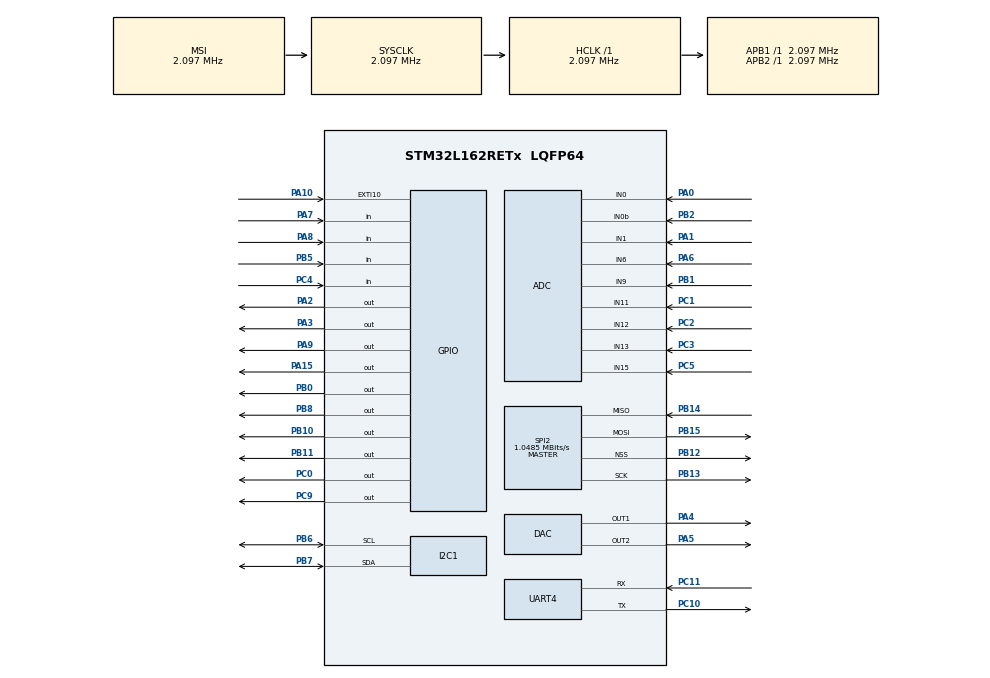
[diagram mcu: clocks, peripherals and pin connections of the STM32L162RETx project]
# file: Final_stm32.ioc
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ADC.Channel-0\#ChannelRegularConversion=ADC_CHANNEL_11
ADC.NbrOfConversionFlag=1
ADC.Rank-0\#ChannelRegularConversion=1
ADC.SamplingTime-0\#ChannelRegularConversion=ADC_SAMPLETIME_4CYCLES
Mcu.Family=STM32L1
Mcu.Name=STM32L162RETx
Mcu.Package=LQFP64
NVIC.EXTI15_10_IRQn=true\:0\:0\:false\:false\:true\:true\:true
NVIC.PriorityGroup=NVIC_PRIORITYGROUP_4
PA0-WKUP1.Mode=IN0
PA0-WKUP1.Signal=ADC_IN0
PA1.Mode=IN1
PA1.Signal=ADC_IN1
PA10.Signal=GPXTI10
PA13.Mode=Serial_Wire
PA13.Signal=SYS_JTMS-SWDIO
PA14.Mode=Serial_Wire
PA14.Signal=SYS_JTCK-SWCLK
PA15.Signal=GPIO_Output
PA2.Signal=GPIO_Output
PA3.Signal=GPIO_Output
PA4.Signal=COMP_DAC1_group
PA5.Signal=COMP_DAC2_group
PA6.Mode=IN6
PA6.Signal=ADC_IN6
PA7.Signal=GPIO_Input
PA8.Signal=GPIO_Input
PA9.Signal=GPIO_Output
PB0.Signal=GPIO_Output
PB1.Mode=IN9
PB1.Signal=ADC_IN9
PB10.Signal=GPIO_Output
PB11.Signal=GPIO_Output
PB12.Mode=NSS_Signal_Hard_Output
PB12.Signal=SPI2_NSS
PB13.Mode=Full_Duplex_Master
PB13.Signal=SPI2_SCK
PB14.Mode=Full_Duplex_Master
PB14.Signal=SPI2_MISO
PB15.Mode=Full_Duplex_Master
PB15.Signal=SPI2_MOSI
PB2.Mode=IN0b
PB2.Signal=ADC_IN0b
PB5.Signal=GPIO_Input
PB6.Mode=I2C
PB6.Signal=I2C1_SCL
PB7.Mode=I2C
PB7.Signal=I2C1_SDA
PB8.Signal=GPIO_Output
PC0.Signal=GPIO_Output
PC1.Mode=IN11
PC1.Signal=ADC_IN11
PC10.Mode=Asynchronous
PC10.Signal=UART4_TX
PC11.Mode=Asynchronous
PC11.Signal=UART4_RX
PC14-OSC32_IN.Mode=LSE-External-Oscillator
PC14-OSC32_IN.Signal=RCC_OSC32_IN
PC15-OSC32_OUT.Mode=LSE-External-Oscillator
PC15-OSC32_OUT.Signal=RCC_OSC32_OUT
PC2.Mode=IN12
PC2.Signal=ADC_IN12
PC3.Mode=IN13
PC3.Signal=ADC_IN13
PC4.Signal=GPIO_Input
PC5.Mode=IN15
PC5.Signal=ADC_IN15
PC9.Signal=GPIO_Output
PH0-OSC_IN.Mode=HSE-External-Oscillator
PH0-OSC_IN.Signal=RCC_OSC_IN
PH1-OSC_OUT.Mode=HSE-External-Oscillator
PH1-OSC_OUT.Signal=RCC_OSC_OUT
ProjectManager.HeapSize=0x200
ProjectManager.StackSize=0x400
ProjectManager.TargetToolchain=STM32CubeIDE
RCC.AHBFreq_Value=2097000
RCC.APB1Freq_Value=2097000
RCC.APB2Freq_Value=2097000
RCC.HSE_VALUE=24000000
RCC.HSI_VALUE=16000000
RCC.MSI_VALUE=2097000
RCC.SYSCLKFreq_VALUE=2097000
RCC.VCOOutputFreq_Value=48000000
SH.COMP_DAC1_group.0=DAC_OUT1,DAC_OUT1
SH.COMP_DAC2_group.0=DAC_OUT2,DAC_OUT2
SPI2.CalculateBaudRate=1.0485 MBits/s
SPI2.Direction=SPI_DIRECTION_2LINES
SPI2.Mode=SPI_MODE_MASTER
SPI2.VirtualNSS=VM_NSSHARD
SPI2.VirtualType=VM_MASTER
UART4.VirtualMode=Asynchronous
VP_IWDG_VS_IWDG.Mode=IWDG_Activate
VP_RTC_VS_RTC_Activate.Mode=RTC_Enabled
VP_RTC_VS_RTC_Calendar.Mode=RTC_Calendar
board=custom

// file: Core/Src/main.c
/* USER CODE BEGIN Header */
/**
  ******************************************************************************
  * @file           : main.c
  * @brief          : Main program body
  ******************************************************************************
  * @attention
  *
  * <h2><center>&copy; Copyright (c) 2021 STMicroelectronics.
  * All rights reserved.</center></h2>
  *
  * This software component is licensed by ST under BSD 3-Clause license,
  * the "License"; You may not use this file except in compliance with the
  * License. You may obtain a copy of the License at:
  *                        opensource.org/licenses/BSD-3-Clause
  *
  ******************************************************************************
  */
/* USER CODE END Header */
#include "main.h"

ADC_HandleTypeDef hadc;

DAC_HandleTypeDef hdac;

I2C_HandleTypeDef hi2c1;

IWDG_HandleTypeDef hiwdg;

RTC_HandleTypeDef hrtc;

SPI_HandleTypeDef hspi2;

UART_HandleTypeDef huart4;

void SystemClock_Config(void);
static void MX_GPIO_Init(void);
static void MX_ADC_Init(void);
static void MX_DAC_Init(void);
static void MX_I2C1_Init(void);
static void MX_RTC_Init(void);
static void MX_SPI2_Init(void);
static void MX_UART4_Init(void);
static void MX_IWDG_Init(void);

int main(void)
{
  /* USER CODE BEGIN 1 */
	initsensors(&hi2c1);
	currentState = INIT;
  /* USER CODE END 1 */

  /* MCU Configuration--------------------------------------------------------*/

  /* Reset of all peripherals, Initializes the Flash interface and the Systick. */
  HAL_Init();

  /* USER CODE BEGIN Init */
  pthread_t thread_comms;

  bool payload_state; //bool which indicates when do we need to go to PAYLOAD state
  bool comms_state; //bool which indicates if we are in region of contact with GS, then go to COMMS state

  uint8_t percentatge;
  uint8_t telecommand_aux;

  /* USER CODE END Init */

  /* Configure the system clock */
  SystemClock_Config();

  /* Initialize all configured peripherals */
  MX_GPIO_Init();
  MX_ADC_Init();
  MX_DAC_Init();
  MX_I2C1_Init();
  MX_RTC_Init();
  MX_SPI2_Init();
  MX_UART4_Init();
  MX_IWDG_Init();
  /* USER CODE BEGIN 2 */
  //stateMachine();
  /* USER CODE END 2 */

  /* Infinite loop */
  /* USER CODE BEGIN WHILE */
  while (1)
  {
	  system_state(&hi2c1);
	  switch (currentState) {

		case INIT:
			init(&hi2c1);
			Write_Flash(PREVIOUS_STATE_ADDR, INIT, 1);
			break;

		case IDLE:
			/* if a telecomand to use the payload/comms is received, go to PAYLOADS/COMMS state */
			if(!system_state(&hi2c1)) currentState = CONTINGENCY;
			else {
				check_position();
				Read_Flash(PAYLOAD_STATE_ADDR, &payload_state, 1);
				Read_Flash(COMMS_STATE_ADDR, &comms_state, 1);
				if(payload_state) currentState = PAYLOAD; /*payload becomes true if a telecommand to acquire data is received*/
				else if(comms_state)	currentState = COMMS;	/*comms becomes true when we have acquired the data and we need to send it*/
				sensorReadings(&hi2c1); /*Updates the values of temperatures, voltages and currents*/
				/*ADCS tasks needed??*/
				//Add Rx mode here
				Write_Flash(PREVIOUS_STATE_ADDR, IDLE, 1);
			}
			break;

		case COMMS:

			//If it is the first time we enter in COMMS when getting contact with the Ground station:
			configuration();
			//pthread_create(&thread_comms, NULL, stateMachine(), NULL);	//INITIALIZE COMMS THREAD
			stateMachine();	//this line must be deleted (initialize in thread)
			//AFTER THAT => NOT ENTER IN COMMS TILL CONTACT TIME WITH GS ENDS

			//WHEN CONTACT TIME ENDS
			//kill comms thread

			/* check if the picture or spectrogram has to be sent and send it if needed */
			if(!system_state(&hi2c1)) currentState = CONTINGENCY;
			else if(comms_state); //telecommand(); 	        /* function that receives orders from "COMMS" */
			currentState = IDLE;
			Write_Flash(PREVIOUS_STATE_ADDR, COMMS, 1);
			break;
		case PAYLOAD:
			/* The idea of this state is to modify the coils' current in each iteration
			 * (when payload_state is true), and once the PQ reaches the final position
			 * in which the photo will be taken, try to maintain the position until it
			 * is the correct moment to take the photo
			 * The code is commented because most variables were not defined and gave
			 * errors, do not think it's a wrong code! */
//			if(PHOTO_TIME - /*¿¿*/RCC/*??*/ < threshold) {
//				rotatePhoto();
//				if(PHOTO_TIME - /*¿¿*/RCC/*??*/ < small_threshold) {
//					takePhoto();
//					resetCommsParams();
//					Write_Flash(PAYLOAD_STATE_ADDR, FALSE, 1);
//				}
//			}

			/*If that checks if the clock's time has passed the Payload time*/
//			if(/*¿¿*/RCC/*??*/ > PHOTO_TIME) {
//				Write_Flash(PAYLOAD_STATE_ADDR, FALSE, 1);
//			}

			currentState = IDLE;
			if(!system_state(&hi2c1)) currentState = CONTINGENCY;
			Write_Flash(PREVIOUS_STATE_ADDR, PAYLOAD, 1);
			break;

		  case CONTINGENCY://we enter low power run mode here

			  setContingency(true); //for comms to know they are in contingency => only receive

			  if (previousState == INIT || previousState == IDLE || previousState == PAYLOAD || previousState == CONTINGENCY || (previousState == COMMS && telecommand_aux == 0)){ //if we come form any of these state check the batteries and decide which the next state will be

				  checkbatteries(&hi2c1); //check the batteries
		  	  	  Read_Flash(BATT_LEVEL_ADDR, &percentatge, 1); //read the battery level and store it on the percentatge variable
		  	 	  Read_Flash(EXIT_LOW_ADDR, &telecommand_aux, 1);//read the exit low flag and store it on the telecommand_aux

				  if (percentatge <= NOMINAL && percentatge >= LOW){ //if batteries are between those values stay on contingency
					  enter_LPRun_Mode();
					  currentState = COMMS;
				  }
				  else if (percentatge <=LOW && percentatge >= CRITICAL){//if batteries are between those values move to susnafe
					  currentState = SUNSAFE;
				  }
				  else { //if batteries are below the critical level move to the survival state
					  currentState = SURVIVAL;
				  }
			  }
			  else if (previousState = COMMS && telecommand_aux == 1){ //we get to the CONTINGENCY state coming from COMMS when the awake telecommand is received

				  exit_LPRun_Mode();

				  checkbatteries(&hi2c1);
		  	      Read_Flash(BATT_LEVEL_ADDR, &percentatge, 1);
		  	      Read_Flash(EXIT_LOW_ADDR, &telecommand_aux, 1);

				  if (percentatge >= NOMINAL + THRESHOLD){ //look whether the batteries are OK or not to mover or not to IDLE

					  currentState = IDLE;

				  }
				  else if (percentatge <=NOMINAL && percentatge >= LOW){ //batteries have not increased but neither decreased, so we stay on contingency

					  currentState = CONTINGENCY;

				  }
				  else { //batteries have decreased, so we move to the sunsafe state

					  currentState = SUNSAFE;
				  }

			  }
			  else if (previousState == SUNSAFE){ //check the batteries when coming from the sunsafe state

				  if (percentatge >= NOMINAL + THRESHOLD){
					  currentState = IDLE;

				  }
				  else if (percentatge <=NOMINAL && percentatge >= LOW){//if batteries are kept between those values stay on contingency

					  currentState = CONTINGENCY;

				  }
			  }
			  else if (previousState == SURVIVAL){ //check the batteries when coming from the survival state

				  if (percentatge >= CRITICAL && percentatge <= LOW){ // if batteries are between low and critical move to sunsafe
					  currentState = SUNSAFE;
				  }
				  else if (percentatge >= LOW && percentatge <= NOMINAL){ // if batteries are between nominal and low stay on contingency
					  currentState = CONTINGENCY;
				  }
				  else if(percentatge >= NOMINAL + THRESHOLD) { //threshold is not defined yet, but if batteries are higher than nominal plus that threshold move to IDLE
					  currentState = IDLE;
				  }
			  }

			  previousState = CONTINGENCY;
		          Write_Flash(PREVIOUS_STATE_ADDR, CONTINGENCY, 1);

		  break;

		  case SUNSAFE: //we enter Sleep mode

		  	  checkbatteries(&hi2c1);
		  	  Read_Flash(BATT_LEVEL_ADDR, &percentatge, 1);

		  	  //END COMMS THREAD HERE

			  while (percentatge <= LOW && percentatge >= CRITICAL){ //if we are kept between those values it means we have not increased that much and neither decreased

				  HAL_IWDG_Init(&hiwdg); //IWDG initialization
				  previousState = SUNSAFE;
				  HAL_PWR_EnterSLEEPMode(PWR_LOWPOWERREGULATOR_ON, PWR_SLEEPENTRY_WFI);//predetermined function to enter Sleep mode
				  HAL_Delay(33000); //delay higher than the IWDG refreshing time so that we start again
			  }
			  if (percentatge >= LOW) currentState = CONTINGENCY;

			  else 	currentState = SURVIVAL;

			  previousState = SUNSAFE;
			  Write_Flash(PREVIOUS_STATE_ADDR, SUNSAFE, 1);

		  break;

		  case SURVIVAL: //we enter Low Power Sleep mode

			  checkbatteries(&hi2c1);
			  Read_Flash(BATT_LEVEL_ADDR, &percentatge, 1);

		  	  //END COMMS THREAD HERE

			  while (percentatge <= CRITICAL ){

				  HAL_IWDG_Init(&hiwdg);
				  previousState = SURVIVAL;
				  enter_LPSleep_Mode();
				  HAL_Delay(33000); //delay higher than the IWDG refreshing time so that we start again
			  }
			  //we will enter this next two lines just when we do not enter the while (because of the IDWG)
			  currentState = CONTINGENCY;
			  previousState = SURVIVAL;
			  Write_Flash(PREVIOUS_STATE_ADDR, SURVIVAL, 1);

		  break;
	  default:
		  /*REBOOT THE SYSTEM*/
	  break;

	  }
    /* USER CODE END WHILE */

  }
}

void SystemClock_Config(void)
{
  RCC_OscInitTypeDef RCC_OscInitStruct = {0};
  RCC_ClkInitTypeDef RCC_ClkInitStruct = {0};
  RCC_PeriphCLKInitTypeDef PeriphClkInit = {0};

  /** Configure the main internal regulator output voltage
  */
  __HAL_PWR_VOLTAGESCALING_CONFIG(PWR_REGULATOR_VOLTAGE_SCALE1);
  /** Initializes the RCC Oscillators according to the specified parameters
  * in the RCC_OscInitTypeDef structure.
  */
  RCC_OscInitStruct.OscillatorType = RCC_OSCILLATORTYPE_HSI|RCC_OSCILLATORTYPE_LSI
                              |RCC_OSCILLATORTYPE_MSI;
  RCC_OscInitStruct.HSIState = RCC_HSI_ON;
  RCC_OscInitStruct.HSICalibrationValue = RCC_HSICALIBRATION_DEFAULT;
  RCC_OscInitStruct.LSIState = RCC_LSI_ON;
  RCC_OscInitStruct.MSIState = RCC_MSI_ON;
  RCC_OscInitStruct.MSICalibrationValue = 0;
  RCC_OscInitStruct.MSIClockRange = RCC_MSIRANGE_5;
  RCC_OscInitStruct.PLL.PLLState = RCC_PLL_NONE;
  if (HAL_RCC_OscConfig(&RCC_OscInitStruct) != HAL_OK)
  {
    Error_Handler();
  }
  /** Initializes the CPU, AHB and APB buses clocks
  */
  RCC_ClkInitStruct.ClockType = RCC_CLOCKTYPE_HCLK|RCC_CLOCKTYPE_SYSCLK
                              |RCC_CLOCKTYPE_PCLK1|RCC_CLOCKTYPE_PCLK2;
  RCC_ClkInitStruct.SYSCLKSource = RCC_SYSCLKSOURCE_MSI;
  RCC_ClkInitStruct.AHBCLKDivider = RCC_SYSCLK_DIV1;
  RCC_ClkInitStruct.APB1CLKDivider = RCC_HCLK_DIV1;
  RCC_ClkInitStruct.APB2CLKDivider = RCC_HCLK_DIV1;

  if (HAL_RCC_ClockConfig(&RCC_ClkInitStruct, FLASH_LATENCY_0) != HAL_OK)
  {
    Error_Handler();
  }
  PeriphClkInit.PeriphClockSelection = RCC_PERIPHCLK_RTC;
  PeriphClkInit.RTCClockSelection = RCC_RTCCLKSOURCE_LSI;
  if (HAL_RCCEx_PeriphCLKConfig(&PeriphClkInit) != HAL_OK)
  {
    Error_Handler();
  }
}

static void MX_ADC_Init(void)
{

  ADC_ChannelConfTypeDef sConfig = {0};

  /** Configure the global features of the ADC (Clock, Resolution, Data Alignment and number of conversion)
  */
  hadc.Instance = ADC1;
  hadc.Init.ClockPrescaler = ADC_CLOCK_ASYNC_DIV1;
  hadc.Init.Resolution = ADC_RESOLUTION_12B;
  hadc.Init.DataAlign = ADC_DATAALIGN_RIGHT;
  hadc.Init.ScanConvMode = ADC_SCAN_DISABLE;
  hadc.Init.EOCSelection = ADC_EOC_SEQ_CONV;
  hadc.Init.LowPowerAutoWait = ADC_AUTOWAIT_DISABLE;
  hadc.Init.LowPowerAutoPowerOff = ADC_AUTOPOWEROFF_DISABLE;
  hadc.Init.ChannelsBank = ADC_CHANNELS_BANK_A;
  hadc.Init.ContinuousConvMode = DISABLE;
  hadc.Init.NbrOfConversion = 1;
  hadc.Init.DiscontinuousConvMode = DISABLE;
  hadc.Init.ExternalTrigConv = ADC_SOFTWARE_START;
  hadc.Init.ExternalTrigConvEdge = ADC_EXTERNALTRIGCONVEDGE_NONE;
  hadc.Init.DMAContinuousRequests = DISABLE;
  if (HAL_ADC_Init(&hadc) != HAL_OK)
  {
    Error_Handler();
  }
  /** Configure for the selected ADC regular channel its corresponding rank in the sequencer and its sample time.
  */
  sConfig.Channel = ADC_CHANNEL_11;
  sConfig.Rank = ADC_REGULAR_RANK_1;
  sConfig.SamplingTime = ADC_SAMPLETIME_4CYCLES;
  if (HAL_ADC_ConfigChannel(&hadc, &sConfig) != HAL_OK)
  {
    Error_Handler();
  }

}

static void MX_DAC_Init(void)
{

  DAC_ChannelConfTypeDef sConfig = {0};

  /** DAC Initialization
  */
  hdac.Instance = DAC;
  if (HAL_DAC_Init(&hdac) != HAL_OK)
  {
    Error_Handler();
  }
  /** DAC channel OUT1 config
  */
  sConfig.DAC_Trigger = DAC_TRIGGER_NONE;
  sConfig.DAC_OutputBuffer = DAC_OUTPUTBUFFER_ENABLE;
  if (HAL_DAC_ConfigChannel(&hdac, &sConfig, DAC_CHANNEL_1) != HAL_OK)
  {
    Error_Handler();
  }
  /** DAC channel OUT2 config
  */
  if (HAL_DAC_ConfigChannel(&hdac, &sConfig, DAC_CHANNEL_2) != HAL_OK)
  {
    Error_Handler();
  }

}

static void MX_I2C1_Init(void)
{

  hi2c1.Instance = I2C1;
  hi2c1.Init.ClockSpeed = 100000;
  hi2c1.Init.DutyCycle = I2C_DUTYCYCLE_2;
  hi2c1.Init.OwnAddress1 = 0;
  hi2c1.Init.AddressingMode = I2C_ADDRESSINGMODE_7BIT;
  hi2c1.Init.DualAddressMode = I2C_DUALADDRESS_DISABLE;
  hi2c1.Init.OwnAddress2 = 0;
  hi2c1.Init.GeneralCallMode = I2C_GENERALCALL_DISABLE;
  hi2c1.Init.NoStretchMode = I2C_NOSTRETCH_DISABLE;
  if (HAL_I2C_Init(&hi2c1) != HAL_OK)
  {
    Error_Handler();
  }

}

static void MX_IWDG_Init(void)
{

  hiwdg.Instance = IWDG;
  hiwdg.Init.Prescaler = IWDG_PRESCALER_4;
  hiwdg.Init.Reload = 4095;
  if (HAL_IWDG_Init(&hiwdg) != HAL_OK)
  {
    Error_Handler();
  }

}

static void MX_RTC_Init(void)
{

  RTC_TimeTypeDef sTime = {0};
  RTC_DateTypeDef sDate = {0};

  /** Initialize RTC Only
  */
  hrtc.Instance = RTC;
  hrtc.Init.HourFormat = RTC_HOURFORMAT_24;
  hrtc.Init.AsynchPrediv = 127;
  hrtc.Init.SynchPrediv = 255;
  hrtc.Init.OutPut = RTC_OUTPUT_DISABLE;
  hrtc.Init.OutPutPolarity = RTC_OUTPUT_POLARITY_HIGH;
  hrtc.Init.OutPutType = RTC_OUTPUT_TYPE_OPENDRAIN;
  if (HAL_RTC_Init(&hrtc) != HAL_OK)
  {
    Error_Handler();
  }

  /** Initialize RTC and set the Time and Date
  */
  sTime.Hours = 0x0;
  sTime.Minutes = 0x0;
  sTime.Seconds = 0x0;
  sTime.DayLightSaving = RTC_DAYLIGHTSAVING_NONE;
  sTime.StoreOperation = RTC_STOREOPERATION_RESET;
  if (HAL_RTC_SetTime(&hrtc, &sTime, RTC_FORMAT_BCD) != HAL_OK)
  {
    Error_Handler();
  }
  sDate.WeekDay = RTC_WEEKDAY_MONDAY;
  sDate.Month = RTC_MONTH_JANUARY;
  sDate.Date = 0x1;
  sDate.Year = 0x0;

  if (HAL_RTC_SetDate(&hrtc, &sDate, RTC_FORMAT_BCD) != HAL_OK)
  {
    Error_Handler();
  }

}

static void MX_SPI2_Init(void)
{

  /* SPI2 parameter configuration*/
  hspi2.Instance = SPI2;
  hspi2.Init.Mode = SPI_MODE_MASTER;
  hspi2.Init.Direction = SPI_DIRECTION_2LINES;
  hspi2.Init.DataSize = SPI_DATASIZE_8BIT;
  hspi2.Init.CLKPolarity = SPI_POLARITY_LOW;
  hspi2.Init.CLKPhase = SPI_PHASE_1EDGE;
  hspi2.Init.NSS = SPI_NSS_HARD_OUTPUT;
  hspi2.Init.BaudRatePrescaler = SPI_BAUDRATEPRESCALER_2;
  hspi2.Init.FirstBit = SPI_FIRSTBIT_MSB;
  hspi2.Init.TIMode = SPI_TIMODE_DISABLE;
  hspi2.Init.CRCCalculation = SPI_CRCCALCULATION_DISABLE;
  hspi2.Init.CRCPolynomial = 10;
  if (HAL_SPI_Init(&hspi2) != HAL_OK)
  {
    Error_Handler();
  }

}

static void MX_UART4_Init(void)
{

  huart4.Instance = UART4;
  huart4.Init.BaudRate = 115200;
  huart4.Init.WordLength = UART_WORDLENGTH_8B;
  huart4.Init.StopBits = UART_STOPBITS_1;
  huart4.Init.Parity = UART_PARITY_NONE;
  huart4.Init.Mode = UART_MODE_TX_RX;
  huart4.Init.HwFlowCtl = UART_HWCONTROL_NONE;
  huart4.Init.OverSampling = UART_OVERSAMPLING_16;
  if (HAL_UART_Init(&huart4) != HAL_OK)
  {
    Error_Handler();
  }

}

static void MX_GPIO_Init(void)
{
  GPIO_InitTypeDef GPIO_InitStruct = {0};

  /* GPIO Ports Clock Enable */
  __HAL_RCC_GPIOC_CLK_ENABLE();
  __HAL_RCC_GPIOH_CLK_ENABLE();
  __HAL_RCC_GPIOA_CLK_ENABLE();
  __HAL_RCC_GPIOB_CLK_ENABLE();

  /*Configure GPIO pin Output Level */
  HAL_GPIO_WritePin(GPIOC, GPIO_PIN_0|GPIO_PIN_9, GPIO_PIN_RESET);

  /*Configure GPIO pin Output Level */
  HAL_GPIO_WritePin(GPIOA, GPIO_PIN_2|GPIO_PIN_3|GPIO_PIN_9|GPIO_PIN_15, GPIO_PIN_RESET);

  /*Configure GPIO pin Output Level */
  HAL_GPIO_WritePin(GPIOB, GPIO_PIN_0|GPIO_PIN_10|GPIO_PIN_11|GPIO_PIN_8, GPIO_PIN_RESET);

  /*Configure GPIO pins : PC0 PC9 */
  GPIO_InitStruct.Pin = GPIO_PIN_0|GPIO_PIN_9;
  GPIO_InitStruct.Mode = GPIO_MODE_OUTPUT_PP;
  GPIO_InitStruct.Pull = GPIO_NOPULL;
  GPIO_InitStruct.Speed = GPIO_SPEED_FREQ_LOW;
  HAL_GPIO_Init(GPIOC, &GPIO_InitStruct);

  /*Configure GPIO pins : PA2 PA3 PA9 PA15 */
  GPIO_InitStruct.Pin = GPIO_PIN_2|GPIO_PIN_3|GPIO_PIN_9|GPIO_PIN_15;
  GPIO_InitStruct.Mode = GPIO_MODE_OUTPUT_PP;
  GPIO_InitStruct.Pull = GPIO_NOPULL;
  GPIO_InitStruct.Speed = GPIO_SPEED_FREQ_LOW;
  HAL_GPIO_Init(GPIOA, &GPIO_InitStruct);

  /*Configure GPIO pins : PA7 PA8 */
  GPIO_InitStruct.Pin = GPIO_PIN_7|GPIO_PIN_8;
  GPIO_InitStruct.Mode = GPIO_MODE_INPUT;
  GPIO_InitStruct.Pull = GPIO_NOPULL;
  HAL_GPIO_Init(GPIOA, &GPIO_InitStruct);

  /*Configure GPIO pin : PC4 */
  GPIO_InitStruct.Pin = GPIO_PIN_4;
  GPIO_InitStruct.Mode = GPIO_MODE_INPUT;
  GPIO_InitStruct.Pull = GPIO_NOPULL;
  HAL_GPIO_Init(GPIOC, &GPIO_InitStruct);

  /*Configure GPIO pins : PB0 PB10 PB11 PB8 */
  GPIO_InitStruct.Pin = GPIO_PIN_0|GPIO_PIN_10|GPIO_PIN_11|GPIO_PIN_8;
  GPIO_InitStruct.Mode = GPIO_MODE_OUTPUT_PP;
  GPIO_InitStruct.Pull = GPIO_NOPULL;
  GPIO_InitStruct.Speed = GPIO_SPEED_FREQ_LOW;
  HAL_GPIO_Init(GPIOB, &GPIO_InitStruct);

  /*Configure GPIO pin : PA10 */
  GPIO_InitStruct.Pin = GPIO_PIN_10;
  GPIO_InitStruct.Mode = GPIO_MODE_IT_RISING;
  GPIO_InitStruct.Pull = GPIO_NOPULL;
  HAL_GPIO_Init(GPIOA, &GPIO_InitStruct);

  /*Configure GPIO pin : PB5 */
  GPIO_InitStruct.Pin = GPIO_PIN_5;
  GPIO_InitStruct.Mode = GPIO_MODE_INPUT;
  GPIO_InitStruct.Pull = GPIO_NOPULL;
  HAL_GPIO_Init(GPIOB, &GPIO_InitStruct);

  /* EXTI interrupt init*/
  HAL_NVIC_SetPriority(EXTI15_10_IRQn, 0, 0);
  HAL_NVIC_EnableIRQ(EXTI15_10_IRQn);

}

void Error_Handler(void)
{
  __disable_irq();
  while (1)
  {
  }
}

/************************ (C) COPYRIGHT STMicroelectronics *****END OF FILE****/
